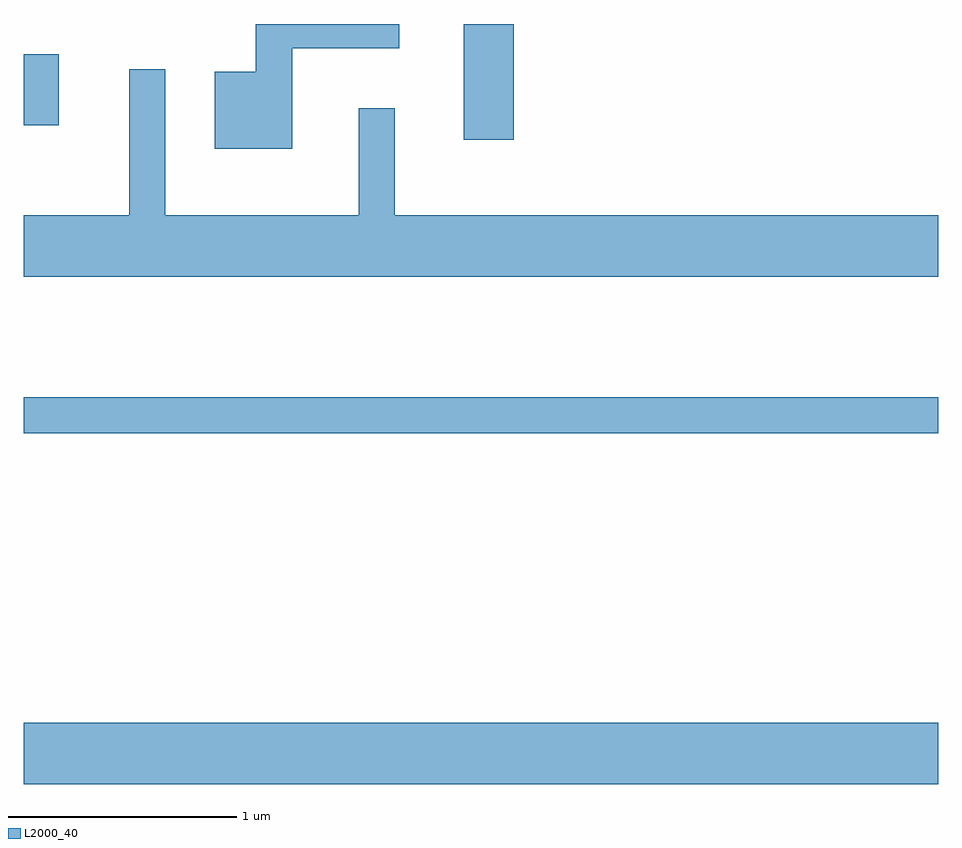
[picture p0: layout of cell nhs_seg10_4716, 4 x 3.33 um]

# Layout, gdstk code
import gdstk
lib = gdstk.Library(unit=1e-6, precision=1e-09)
def R(c, l, rs):  # rectangles x0, y0, x1, y1
    for r in rs: c.add(gdstk.rectangle(r[:2], r[2:], *l))
def P(c, l, *ps):  # polygons
    for p in ps: c.add(gdstk.Polygon(p, *l))
L2000_40 = (2000, 40)

nhs_seg10_4716 = lib.new_cell('nhs_seg10_4716')
R(nhs_seg10_4716, L2000_40, [(323.611,2167.196,327.611,2167.464), (323.611,2168.731,327.611,2168.889), (325.536,2170.016,325.754,2170.522), (323.611,2170.078,323.764,2170.389)])
P(nhs_seg10_4716, L2000_40, [(324.784,2170.416),(325.254,2170.416),(325.254,2170.522),(324.626,2170.522),(324.626,2170.314),(324.446,2170.314),(324.446,2169.976),(324.784,2169.976)],
  [(327.611,2169.684),(325.234,2169.684),(325.234,2170.153),(325.076,2170.153),(325.076,2169.684),(324.229,2169.684),(324.229,2170.323),(324.071,2170.323),(324.071,2169.684),(323.611,2169.684),(323.611,2169.416),(327.611,2169.416)])

lib.write_gds('nhs_seg10_4716.gds')
